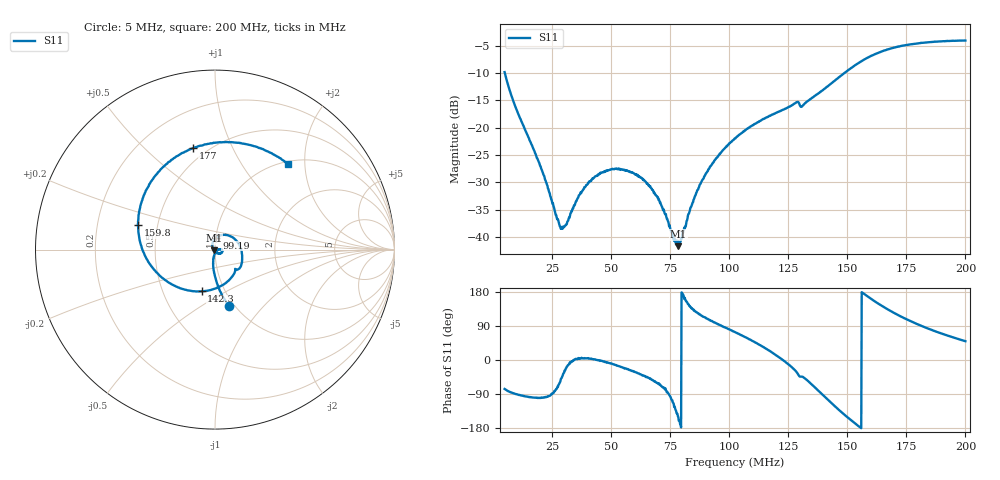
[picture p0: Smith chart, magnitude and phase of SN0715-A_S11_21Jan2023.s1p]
# Hz S DB R 50
! CMT, M5045, 22160017, 22.4.3/2
! Date: 1/21/2023 20:06:15
! Data: Format (Calibration Info)
! Freq	S11:dB/Ang(F1)
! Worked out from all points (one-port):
!   1001 points, 5 MHz to 200 MHz, reference 50 ohm
!   lowest |S11| = -41.7 dB at 78.52 MHz (marker M1), VSWR 1.02, Z = 49.3 - j0.395 ohm
!   |S11| at or under -10 dB: 5.089 MHz to 148.8 MHz (143.7 MHz wide, 187 % of centre)
!   S11 on the Smith chart (normalised r, x): 5 MHz: 0.94, -0.66; 99.19 MHz: 1.01, +0.14; 142.3 MHz: 0.78, -0.38; 159.8 MHz: 0.39, +0.13; 177 MHz: 0.42, +0.72; 200 MHz: 1.05, +1.64
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5000000  -9.84 -76.4
1.2995e7  -19.65 -95.0
2.0795e7  -27.77 -99.3
2.7815e7  -37.16 -65.6
2.9375e7  -38.11 -43.4
3.152e7  -37.20 -16.5
3.6785e7  -32.23 3.5
4.127e7  -29.83 3.5
5.375e7  -27.55 -17.0
6.155e7  -28.93 -35.2
6.701e7  -31.06 -50.6
7.052e7  -33.42 -64.1
7.8125e7  -40.63 -141.8
7.8515e7  -41.66 -151.0
8.807e7  -30.09 118.0
9.9185e7  -23.38 83.6
1.025e8  -21.98 73.7
1.15175e8  -18.25 31.7
1.26875e8  -15.85 -20.8
1.31165e8  -15.97 -44.4
1.4228e8  -12.24 -107.8
1.5125e8  -9.23 -157.1
1.5983e8  -6.94 162.3
1.6646e8  -5.81 136.0
1.75625e8  -4.86 105.9
1.7699e8  -4.76 102.0
1.86935e8  -4.28 76.5
2e8  -4.07 49.5
